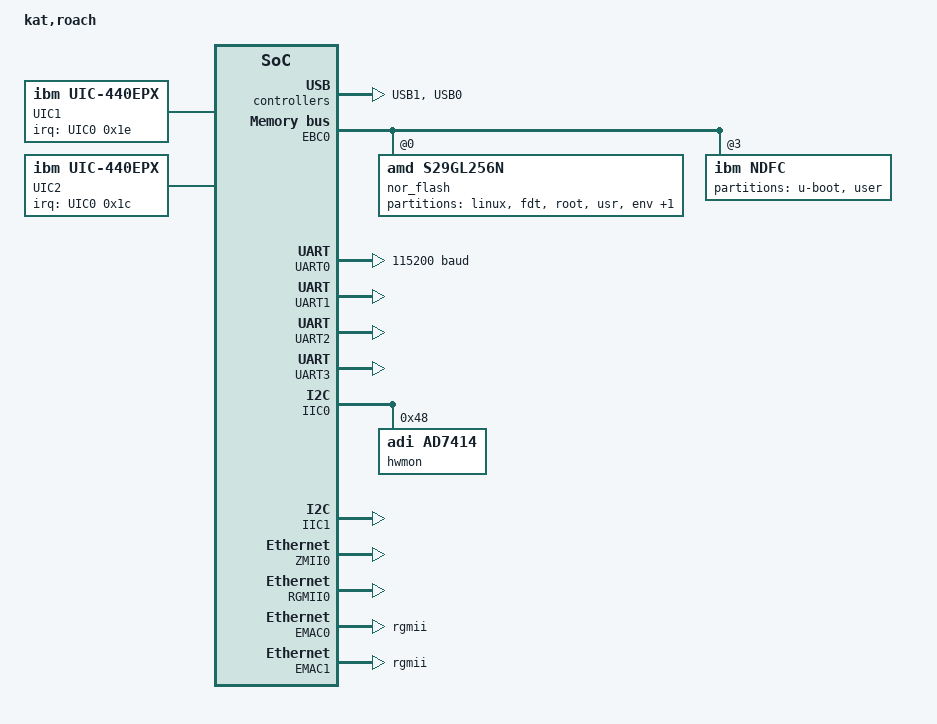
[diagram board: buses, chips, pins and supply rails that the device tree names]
/*
 * Device Tree Source for AMCC Sequoia
 *
 * Based on Bamboo code by Josh Boyer <jwboyer@linux.vnet.ibm.com>
 * Copyright (c) 2006, 2007 IBM Corp.
 *
 * FIXME: Draft only!
 *
 * This file is licensed under the terms of the GNU General Public
 * License version 2.  This program is licensed "as is" without
 * any warranty of any kind, whether express or implied.
 *
 */

/dts-v1/;

/ {
	#address-cells = <2>;
	#size-cells = <1>;
	model = "kat,roach";
	compatible = "kat,roach";
	dcr-parent = <&{/cpus/cpu@0}>;

	aliases {
		ethernet0 = &EMAC0;
		ethernet1 = &EMAC1;
		serial0 = &UART0;
		serial1 = &UART1;
		serial2 = &UART2;
		serial3 = &UART3;
	};

	cpus {
		#address-cells = <1>;
		#size-cells = <0>;

		cpu@0 {
			device_type = "cpu";
			model = "PowerPC,440EPx";
			reg = <0x00000000>;
			clock-frequency = <0>; /* Filled in by zImage */
			timebase-frequency = <0>; /* Filled in by zImage */
			i-cache-line-size = <32>;
			d-cache-line-size = <32>;
			i-cache-size = <32768>;
			d-cache-size = <32768>;
			dcr-controller;
			dcr-access-method = "native";
		};
	};

	memory {
		device_type = "memory";
		reg = <0x00000000 0x00000000 0x00000000>; /* Filled in by zImage */
	};

	UIC0: interrupt-controller0 {
		compatible = "ibm,uic-440epx","ibm,uic";
		interrupt-controller;
		cell-index = <0>;
		dcr-reg = <0x0c0 0x009>;
		#address-cells = <0>;
		#size-cells = <0>;
		#interrupt-cells = <2>;
	};

	UIC1: interrupt-controller1 {
		compatible = "ibm,uic-440epx","ibm,uic";
		interrupt-controller;
		cell-index = <1>;
		dcr-reg = <0x0d0 0x009>;
		#address-cells = <0>;
		#size-cells = <0>;
		#interrupt-cells = <2>;
		interrupts = <0x1e 0x4 0x1f 0x4>; /* cascade */
		interrupt-parent = <&UIC0>;
	};

	UIC2: interrupt-controller2 {
		compatible = "ibm,uic-440epx","ibm,uic";
		interrupt-controller;
		cell-index = <2>;
		dcr-reg = <0x0e0 0x009>;
		#address-cells = <0>;
		#size-cells = <0>;
		#interrupt-cells = <2>;
		interrupts = <0x1c 0x4 0x1d 0x4>; /* cascade */
		interrupt-parent = <&UIC0>;
	};

	SDR0: sdr {
		compatible = "ibm,sdr-440epx", "ibm,sdr-440ep";
		dcr-reg = <0x00e 0x002>;
	};

	CPR0: cpr {
		compatible = "ibm,cpr-440epx", "ibm,cpr-440ep";
		dcr-reg = <0x00c 0x002>;
	};

	plb {
		compatible = "ibm,plb-440epx", "ibm,plb4";
		#address-cells = <2>;
		#size-cells = <1>;
		ranges;
		clock-frequency = <0>; /* Filled in by zImage */

		SDRAM0: sdram {
			compatible = "ibm,sdram-440epx", "ibm,sdram-44x-ddr2denali";
			dcr-reg = <0x010 0x002>;
		};

		DMA0: dma {
			compatible = "ibm,dma-440epx", "ibm,dma-4xx";
			dcr-reg = <0x100 0x027>;
		};

		MAL0: mcmal {
			compatible = "ibm,mcmal-440epx", "ibm,mcmal2";
			dcr-reg = <0x180 0x062>;
			num-tx-chans = <2>;
			num-rx-chans = <2>;
			interrupt-parent = <&MAL0>;
			interrupts = <0x0 0x1 0x2 0x3 0x4>;
			#interrupt-cells = <1>;
			#address-cells = <0>;
			#size-cells = <0>;
			interrupt-map = </*TXEOB*/ 0x0 &UIC0 0xa 0x4
					/*RXEOB*/ 0x1 &UIC0 0xb 0x4
					/*SERR*/  0x2 &UIC1 0x0 0x4
					/*TXDE*/  0x3 &UIC1 0x1 0x4
					/*RXDE*/  0x4 &UIC1 0x2 0x4>;
			interrupt-map-mask = <0xffffffff>;
		};

		USB1: usb@e0000400 {
			compatible = "ibm,usb-ohci-440epx", "ohci-be";
			reg = <0x00000000 0xe0000400 0x00000060>;
			interrupt-parent = <&UIC0>;
			interrupts = <0x15 0x8>;
		};

		USB0: ehci@e0000300 {
			compatible = "ibm,usb-ehci-440epx", "usb-ehci";
			interrupt-parent = <&UIC0>;
			interrupts = <0x1a 0x4>;
			reg = <0x00000000 0xe0000300 0x00000090 0x00000000 0xe0000390 0x00000070>;
			big-endian;
		};

		POB0: opb {
		  	compatible = "ibm,opb-440epx", "ibm,opb";
			#address-cells = <1>;
			#size-cells = <1>;
		  	ranges = <0x00000000 0x00000001 0x00000000 0x80000000
			          0x80000000 0x00000001 0x80000000 0x80000000>;
		  	interrupt-parent = <&UIC1>;
		  	interrupts = <0x7 0x4>;
		  	clock-frequency = <0>; /* Filled in by zImage */

			EBC0: ebc {
				compatible = "ibm,ebc-440epx", "ibm,ebc";
				dcr-reg = <0x012 0x002>;
				#address-cells = <2>;
				#size-cells = <1>;
				clock-frequency = <0>; /* Filled in by zImage */
				interrupts = <0x5 0x1>;
				interrupt-parent = <&UIC1>;

				nor_flash@0,0 {
					compatible = "amd,s29gl256n", "cfi-flash";
					bank-width = <2>;
					reg = <0x00000000 0x00000000 0x04000000>;
					#address-cells = <1>;
					#size-cells = <1>;
					partition@0 {
						label = "linux";
						reg = <0x0 0x1c0000>;
					};
					partition@1c0000 {
						label = "fdt";
						reg = <0x1c0000 0x40000>;
					};
					partition@200000 {
						label = "root";
						reg = <0x200000 0x800000>;
					};
					partition@a00000 {
						label = "usr";
						reg = <0xa00000 0x3560000>;
					};
					partition@3f60000 {
						label = "env";
						reg = <0x03f60000 0x00040000>;
					};
					partition@3fa0000 {
						label = "u-boot";
						reg = <0x03fa0000 0x00060000>;
					};
				};

				ndfc@3,0 {
					compatible = "ibm,ndfc";
					reg = <0x00000003 0x00000000 0x00002000>;
					ccr = <0x00001000>;
					bank-settings = <0x80002222>;
					#address-cells = <1>;
					#size-cells = <1>;

					nand {
						#address-cells = <1>;
						#size-cells = <1>;

						partition@0 {
							label = "u-boot";
							reg = <0x00000000 0x00084000>;
						};
						partition@84000 {
							label = "user";
							reg = <0x00000000 0x01f7c000>;
						};
					};
				};
			};

			UART0: serial@ef600300 {
		   		device_type = "serial";
		   		compatible = "ns16550";
		   		reg = <0xef600300 0x00000008>;
		   		virtual-reg = <0xef600300>;
		   		clock-frequency = <0>; /* Filled in by zImage */
		   		current-speed = <115200>;
		   		interrupt-parent = <&UIC0>;
		   		interrupts = <0x0 0x4>;
	   		};

			UART1: serial@ef600400 {
		   		device_type = "serial";
		   		compatible = "ns16550";
		   		reg = <0xef600400 0x00000008>;
		   		virtual-reg = <0xef600400>;
		   		clock-frequency = <0>;
		   		current-speed = <0>;
		   		interrupt-parent = <&UIC0>;
		   		interrupts = <0x1 0x4>;
	   		};

			UART2: serial@ef600500 {
		   		device_type = "serial";
		   		compatible = "ns16550";
		   		reg = <0xef600500 0x00000008>;
		   		virtual-reg = <0xef600500>;
		   		clock-frequency = <0>;
		   		current-speed = <0>;
		   		interrupt-parent = <&UIC1>;
		   		interrupts = <0x3 0x4>;
	   		};

			UART3: serial@ef600600 {
		   		device_type = "serial";
		   		compatible = "ns16550";
		   		reg = <0xef600600 0x00000008>;
		   		virtual-reg = <0xef600600>;
		   		clock-frequency = <0>;
		   		current-speed = <0>;
		   		interrupt-parent = <&UIC1>;
		   		interrupts = <0x4 0x4>;
	   		};

			IIC0: i2c@ef600700 {
				#address-cells = <1>;
				#size-cells = <0>;
				compatible = "ibm,iic-440epx", "ibm,iic";
				reg = <0xef600700 0x00000014>;
				interrupt-parent = <&UIC0>;
				interrupts = <0x2 0x4>;

				hwmon@48 {
					compatible = "adi,ad7414";
					reg = <0x48>;
				};
			};

			IIC1: i2c@ef600800 {
				#address-cells = <1>;
				#size-cells = <0>;
				compatible = "ibm,iic-440epx", "ibm,iic";
				reg = <0xef600800 0x00000014>;
				interrupt-parent = <&UIC0>;
				interrupts = <0x7 0x4>;
			};

		      	V5FPGA: fpga@d0000000{
        			device_type = "fpga";
        			xlnx,family = "virtex5";
        			compatible = "kat,roach-fpga";
        			reg = <0xd0000000 0x8000000>;
      			};

      			SMAP:  smap@c0100000{
        			compatible = "smap";
        			reg = <0xc0100000 0x00100000>;
       			};

      			CPLD:  cpld@c0000000{
        			compatible = "cpld";
        			reg = <0xc0000000 0x00100000>;
       			};

			ZMII0: emac-zmii@ef600d00 {
				compatible = "ibm,zmii-440epx", "ibm,zmii";
				reg = <0xef600d00 0x0000000c>;
			};

			RGMII0: emac-rgmii@ef601000 {
				compatible = "ibm,rgmii-440epx", "ibm,rgmii";
				reg = <0xef601000 0x00000008>;
				has-mdio;
			};

			EMAC0: ethernet@ef600e00 {
				device_type = "network";
				compatible = "ibm,emac-440epx", "ibm,emac4";
				interrupt-parent = <&EMAC0>;
				interrupts = <0x0 0x1>;
				#interrupt-cells = <1>;
				#address-cells = <0>;
				#size-cells = <0>;
				interrupt-map = </*Status*/ 0x0 &UIC0 0x18 0x4
						/*Wake*/  0x1 &UIC1 0x1d 0x4>;
				reg = <0xef600e00 0x00000074>;
				local-mac-address = [000000000000];
				mal-device = <&MAL0>;
				mal-tx-channel = <0>;
				mal-rx-channel = <0>;
				cell-index = <0>;
				max-frame-size = <9000>;
				rx-fifo-size = <4096>;
				tx-fifo-size = <2048>;
				phy-mode = "rgmii";
				phy-map = <0x00000000>;
				zmii-device = <&ZMII0>;
				zmii-channel = <0>;
				rgmii-device = <&RGMII0>;
				rgmii-channel = <0>;
				has-inverted-stacr-oc;
				has-new-stacr-staopc;
			};

			EMAC1: ethernet@ef600f00 {
				device_type = "network";
				compatible = "ibm,emac-440epx", "ibm,emac4";
				interrupt-parent = <&EMAC1>;
				interrupts = <0x0 0x1>;
				#interrupt-cells = <1>;
				#address-cells = <0>;
				#size-cells = <0>;
				interrupt-map = </*Status*/ 0x0 &UIC0 0x19 0x4
						/*Wake*/  0x1 &UIC1 0x1f 0x4>;
				reg = <0xef600f00 0x00000074>;
				local-mac-address = [000000000000];
				mal-device = <&MAL0>;
				mal-tx-channel = <1>;
				mal-rx-channel = <1>;
				cell-index = <1>;
				max-frame-size = <9000>;
				rx-fifo-size = <4096>;
				tx-fifo-size = <2048>;
				phy-mode = "rgmii";
				phy-map = <0x00000000>;
				zmii-device = <&ZMII0>;
				zmii-channel = <1>;
				rgmii-device = <&RGMII0>;
				rgmii-channel = <1>;
				has-inverted-stacr-oc;
				has-new-stacr-staopc;
			};
		};
	};

	chosen {
		linux,stdout-path = "/plb/opb/serial@ef600300";

	};
};
